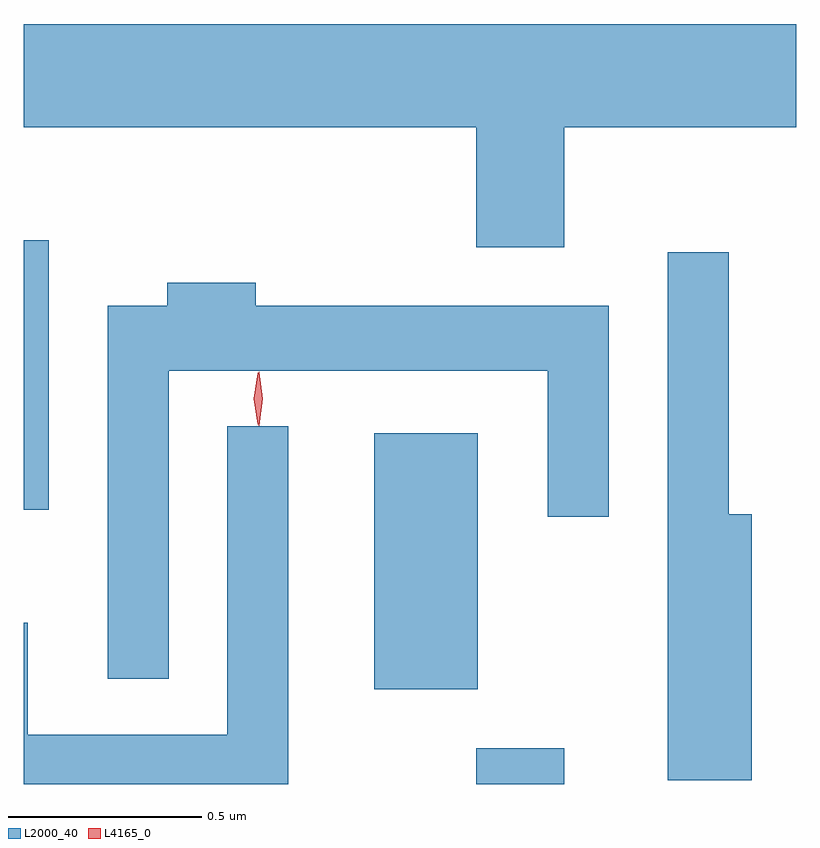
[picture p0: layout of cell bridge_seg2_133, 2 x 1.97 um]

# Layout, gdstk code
import gdstk
lib = gdstk.Library(unit=1e-6, precision=1e-09)
def R(c, l, rs):  # rectangles x0, y0, x1, y1
    for r in rs: c.add(gdstk.rectangle(r[:2], r[2:], *l))
def P(c, l, *ps):  # polygons
    for p in ps: c.add(gdstk.Polygon(p, *l))
L2000_40 = (2000, 40)
L4165_0 = (4165, 0)

bridge_seg2_133 = lib.new_cell('bridge_seg2_133')
R(bridge_seg2_133, L2000_40, [(1028.781,1106.556,1029.009,1106.649), (1028.516,1106.801,1028.784,1107.464), (1027.609,1107.266,1027.674,1107.964)])
P(bridge_seg2_133, L2000_40, [(1029.009,1108.256),(1029.609,1108.256),(1029.609,1108.524),(1027.609,1108.524),(1027.609,1108.256),(1028.781,1108.256),(1028.781,1107.946),(1029.009,1107.946)],
  [(1029.494,1107.254),(1029.434,1107.254),(1029.434,1107.933),(1029.276,1107.933),(1029.276,1106.566),(1029.494,1106.566)],
  [(1027.984,1107.626),(1028.966,1107.626),(1028.966,1107.248),(1029.124,1107.248),(1029.124,1107.794),(1028.209,1107.794),(1028.209,1107.854),(1027.981,1107.854),(1027.981,1107.794),(1027.826,1107.794),(1027.826,1106.828),(1027.984,1106.828)],
  [(1028.294,1107.483),(1028.136,1107.483),(1028.136,1106.684),(1027.619,1106.684),(1027.619,1106.974),(1027.609,1106.974),(1027.609,1106.556),(1028.294,1106.556)])
P(bridge_seg2_133, L4165_0, [(1028.217,1107.484),(1028.208,1107.553),(1028.217,1107.622),(1028.218,1107.623),(1028.218,1107.622),(1028.228,1107.553),(1028.218,1107.484),(1028.218,1107.484)],
  [(1028.215,1107.487),(1028.215,1107.487),(1028.205,1107.554),(1028.215,1107.62),(1028.215,1107.621),(1028.216,1107.62),(1028.225,1107.554),(1028.216,1107.487)])

lib.write_gds('bridge_seg2_133.gds')
